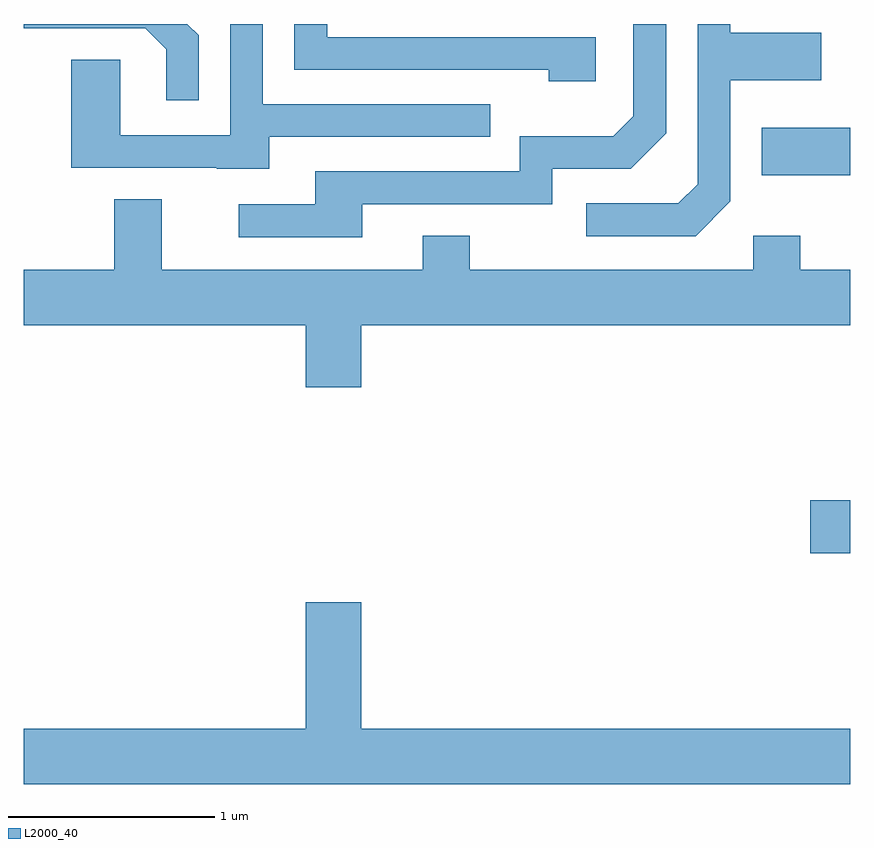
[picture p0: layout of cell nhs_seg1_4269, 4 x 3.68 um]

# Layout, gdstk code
import gdstk
lib = gdstk.Library(unit=1e-6, precision=1e-09)
def R(c, l, rs):  # rectangles x0, y0, x1, y1
    for r in rs: c.add(gdstk.rectangle(r[:2], r[2:], *l))
def P(c, l, *ps):  # polygons
    for p in ps: c.add(gdstk.Polygon(p, *l))
L2000_40 = (2000, 40)

nhs_seg1_4269 = lib.new_cell('nhs_seg1_4269')
R(nhs_seg1_4269, L2000_40, [(317.416,885.151,317.611,885.409), (317.181,886.981,317.611,887.209)])
P(nhs_seg1_4269, L2000_40, [(317.029,886.854),(317.029,887.441),(317.469,887.441),(317.469,887.669),(317.029,887.669),(317.029,887.712),(316.871,887.712),(316.871,886.937),(316.779,886.844),(316.333,886.844),(316.333,886.686),(316.862,886.686)],
  [(314.459,887.657),(314.404,887.712),(313.611,887.712),(313.611,887.691),(314.199,887.691),(314.301,887.589),(314.301,887.343),(314.459,887.343)],
  [(316.379,887.649),(315.079,887.649),(315.079,887.712),(314.921,887.712),(314.921,887.491),(316.151,887.491),(316.151,887.436),(316.379,887.436)],
  [(314.799,887.166),(315.868,887.166),(315.868,887.324),(314.769,887.324),(314.769,887.712),(314.611,887.712),(314.611,887.174),(314.079,887.174),(314.079,887.539),(313.841,887.539),(313.841,887.016),(314.545,887.016),(314.545,887.011),(314.799,887.011)],
  [(315.249,886.841),(316.169,886.841),(316.169,887.011),(316.547,887.011),(316.719,887.184),(316.719,887.712),(316.561,887.712),(316.561,887.267),(316.464,887.169),(316.011,887.169),(316.011,886.999),(315.021,886.999),(315.021,886.839),(314.653,886.839),(314.653,886.681),(315.249,886.681)],
  [(315.244,886.256),(317.611,886.256),(317.611,886.524),(317.369,886.524),(317.369,886.689),(317.141,886.689),(317.141,886.524),(315.769,886.524),(315.769,886.689),(315.541,886.689),(315.541,886.524),(314.279,886.524),(314.279,886.864),(314.051,886.864),(314.051,886.524),(313.611,886.524),(313.611,886.256),(314.976,886.256),(314.976,885.956),(315.244,885.956)],
  [(317.611,884.304),(315.244,884.304),(315.244,884.914),(314.976,884.914),(314.976,884.304),(313.611,884.304),(313.611,884.036),(317.611,884.036)])

lib.write_gds('nhs_seg1_4269.gds')
